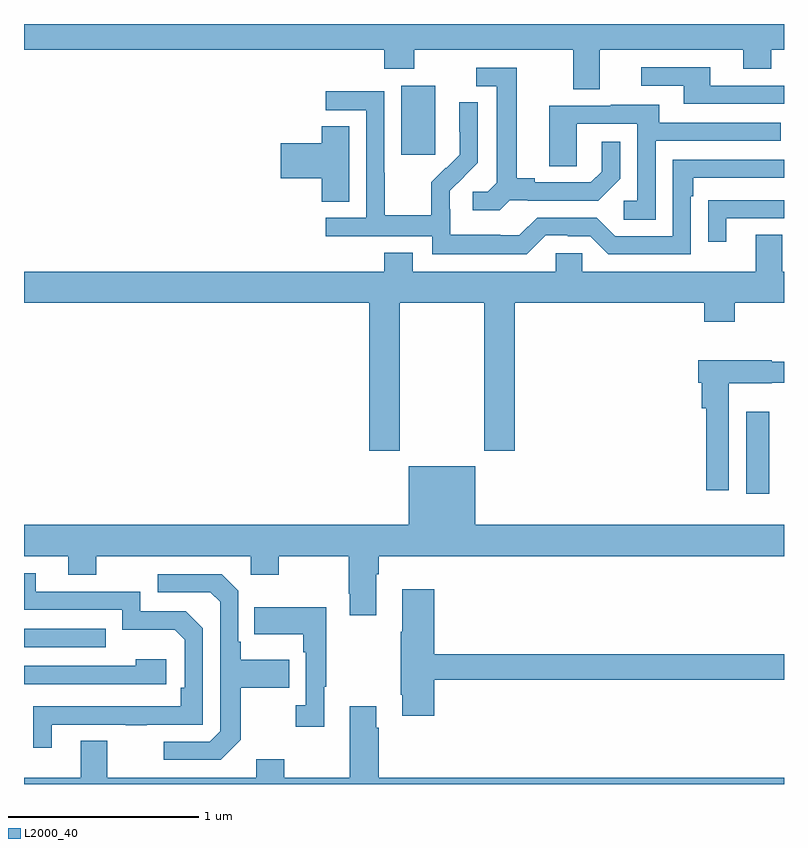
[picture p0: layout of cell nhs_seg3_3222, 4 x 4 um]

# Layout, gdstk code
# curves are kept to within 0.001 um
import gdstk
lib = gdstk.Library(unit=1e-6, precision=1e-09)
def R(c, l, rs):  # rectangles x0, y0, x1, y1
    for r in rs: c.add(gdstk.rectangle(r[:2], r[2:], *l))
def P(c, l, *ps):  # polygons
    for p in ps: c.add(gdstk.Polygon(p, *l))
L2000_40 = (2000, 40)

nhs_seg3_3222 = lib.new_cell('nhs_seg3_3222')
R(nhs_seg3_3222, L2000_40, [(279,683.121,279.431,683.217), (282.8,683.928,282.922,684.358), (280.985,685.713,281.164,686.074)])
P(nhs_seg3_3222, L2000_40, [(282.031,686.264),(282.785,686.264),(282.785,686.165),(282.933,686.165),(282.933,686.264),(283,686.264),(283,686.4),(279,686.4),(279,686.264),(280.895,686.264),(280.895,686.165),(281.055,686.165),(281.055,686.264),(281.891,686.264),(281.891,686.056),(282.031,686.056)],
  [(283,686.076),(282.613,686.076),(282.613,686.172),(282.249,686.172),(282.249,686.076),(282.473,686.076),(282.473,685.98),(283,685.98)],
  [(281.556,685.473),(281.65,685.473),(281.65,685.47),(282.022,685.47),(282.138,685.586),(282.138,685.78),(282.041,685.78),(282.041,685.623),(281.984,685.566),(281.689,685.566),(281.689,685.589),(281.593,685.589),(281.593,686.169),(281.379,686.169),(281.379,686.073),(281.489,686.073),(281.489,685.565),(281.442,685.518),(281.361,685.518),(281.361,685.421),(281.504,685.421)],
  [(281.745,685.287),(281.861,685.287),(281.861,685.284),(281.979,685.284),(282.075,685.188),(282.51,685.188),(282.51,685.493),(282.523,685.493),(282.523,685.59),(283,685.59),(283,685.686),(282.414,685.686),(282.414,685.284),(282.111,685.284),(282.015,685.38),(281.7,685.38),(281.607,685.287),(281.507,685.287),(281.507,685.291),(281.244,685.291),(281.244,685.425),(281.242,685.425),(281.242,685.522),(281.388,685.67),(281.388,685.988),(281.292,685.988),(281.292,685.834),(281.294,685.834),(281.294,685.712),(281.223,685.641),(281.22,685.644),(281.143,685.567),(281.143,685.393),(280.899,685.393),(280.899,685.616),(280.896,685.616),(280.896,686.046),(280.587,686.046),(280.587,685.947),(280.8,685.947),(280.8,685.38),(280.587,685.38),(280.587,685.284),(281.148,685.284),(281.148,685.187),(281.645,685.187)],
  [(282.324,685.785),(282.983,685.785),(282.983,685.881),(282.343,685.881),(282.343,685.975),(282.089,685.975),(282.089,685.971),(281.765,685.971),(281.765,685.651),(281.91,685.651),(281.91,685.875),(282.228,685.875),(282.228,685.47),(282.156,685.47),(282.156,685.369),(282.324,685.369)],
  [(280.711,685.862),(280.568,685.862),(280.568,685.772),(280.35,685.772),(280.35,685.589),(280.568,685.589),(280.568,685.465),(280.711,685.465)],
  [(282.697,685.377),(283,685.377),(283,685.473),(282.703,685.473),(282.703,685.472),(282.601,685.472),(282.601,685.254),(282.697,685.254)],
  [(280.977,684.932),(281.422,684.932),(281.422,684.153),(281.582,684.153),(281.582,684.932),(282.581,684.932),(282.581,684.833),(282.741,684.833),(282.741,684.932),(283,684.932),(283,685.096),(282.991,685.096),(282.991,685.291),(282.851,685.291),(282.851,685.096),(281.937,685.096),(281.937,685.194),(281.799,685.194),(281.799,685.096),(281.047,685.096),(281.047,685.195),(280.895,685.195),(280.895,685.096),(279,685.096),(279,684.932),(280.817,684.932),(280.817,684.153),(280.977,684.153)],
  [(282.708,684.509),(282.936,684.509),(282.936,684.513),(283,684.513),(283,684.622),(282.936,684.622),(282.936,684.631),(282.548,684.631),(282.548,684.513),(282.566,684.513),(282.566,684.377),(282.592,684.377),(282.592,683.946),(282.708,683.946)],
  [(280.855,683.504),(280.868,683.504),(280.868,683.6),(283,683.6),(283,683.764),(281.374,683.764),(281.374,684.073),(281.024,684.073),(281.024,683.764),(279,683.764),(279,683.6),(279.233,683.6),(279.233,683.501),(279.381,683.501),(279.381,683.6),(280.194,683.6),(280.194,683.501),(280.341,683.501),(280.341,683.6),(280.708,683.6),(280.708,683.401),(280.715,683.401),(280.715,683.289),(280.855,683.289)],
  [(279.145,682.713),(279.535,682.713),(279.535,682.708),(279.647,682.708),(279.647,682.713),(279.942,682.713),(279.942,683.22),(279.852,683.31),(279.612,683.31),(279.612,683.412),(279.061,683.412),(279.061,683.508),(279,683.508),(279,683.316),(279.516,683.316),(279.516,683.213),(279.793,683.213),(279.846,683.16),(279.846,682.906),(279.826,682.906),(279.826,682.809),(279.049,682.808),(279.049,682.59),(279.145,682.59)],
  [(280.141,682.633),(280.141,682.906),(280.397,682.906),(280.397,683.053),(280.141,683.053),(280.141,683.149),(280.128,683.149),(280.128,683.418),(280.041,683.505),(279.705,683.505),(279.705,683.409),(279.981,683.409),(280.032,683.358),(280.032,682.677),(279.978,682.623),(279.735,682.623),(279.735,682.527),(280.035,682.527)],
  [(281.159,682.948),(283,682.948),(283,683.084),(281.159,683.084),(281.159,683.425),(280.991,683.425),(280.991,683.201),(280.984,683.201),(280.984,682.87),(280.991,682.87),(280.991,682.758),(281.159,682.758)],
  [(280.579,682.913),(280.591,682.913),(280.591,683.329),(280.213,683.329),(280.213,683.189),(280.47,683.189),(280.47,683.093),(280.482,683.093),(280.482,682.814),(280.431,682.814),(280.431,682.701),(280.579,682.701)],
  [(279.748,683.056),(279.587,683.056),(279.587,683.022),(279,683.022),(279,682.926),(279.748,682.926)],
  [(283,682.432),(280.868,682.432),(280.868,682.697),(280.855,682.697),(280.855,682.81),(280.715,682.81),(280.715,682.432),(280.371,682.432),(280.371,682.531),(280.223,682.531),(280.223,682.432),(279.439,682.432),(279.439,682.627),(279.299,682.627),(279.299,682.432),(279,682.432),(279,682.4),(283,682.4)])

lib.write_gds('nhs_seg3_3222.gds')
